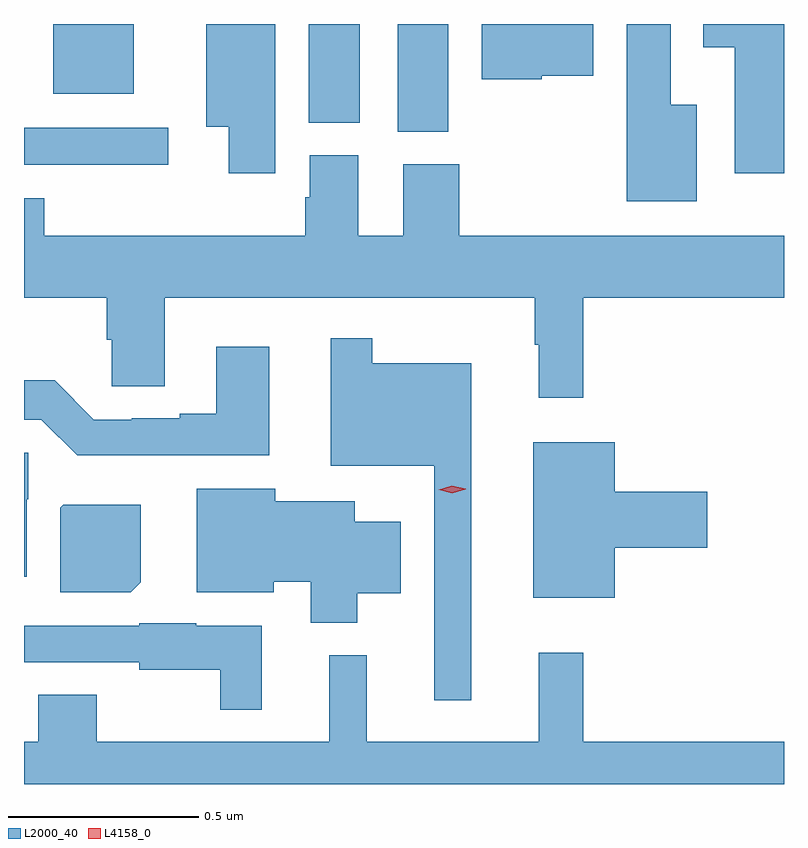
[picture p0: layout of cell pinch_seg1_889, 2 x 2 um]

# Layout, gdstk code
import gdstk
lib = gdstk.Library(unit=1e-6, precision=1e-09)
def R(c, l, rs):  # rectangles x0, y0, x1, y1
    for r in rs: c.add(gdstk.rectangle(r[:2], r[2:], *l))
def P(c, l, *ps):  # polygons
    for p in ps: c.add(gdstk.Polygon(p, *l))
L2000_40 = (2000, 40)
L4158_0 = (4158, 0)

pinch_seg1_889 = lib.new_cell('pinch_seg1_889')
R(pinch_seg1_889, L2000_40, [(483.393,517.451,483.772,517.548), (484.376,517.537,484.51,517.821), (484.142,517.561,484.276,517.821), (483.47,517.637,483.682,517.821)])
P(pinch_seg1_889, L2000_40, [(485.164,517.609),(485.095,517.609),(485.095,517.821),(484.979,517.821),(484.979,517.355),(485.164,517.355)],
  [(485.393,517.821),(485.18,517.821),(485.18,517.76),(485.264,517.76),(485.264,517.428),(485.393,517.428)],
  [(484.755,517.685),(484.891,517.685),(484.891,517.821),(484.598,517.821),(484.598,517.676),(484.755,517.676)],
  [(484.054,517.821),(483.872,517.821),(483.872,517.55),(483.932,517.55),(483.932,517.428),(484.054,517.428)],
  [(484.865,517.1),(485.393,517.1),(485.393,517.264),(484.539,517.264),(484.539,517.452),(484.391,517.452),(484.391,517.264),(484.273,517.264),(484.273,517.476),(484.145,517.476),(484.145,517.365),(484.133,517.365),(484.133,517.264),(483.446,517.264),(483.446,517.363),(483.393,517.363),(483.393,517.1),(483.611,517.1),(483.611,516.99),(483.624,516.99),(483.624,516.868),(483.763,516.868),(483.763,517.1),(484.737,517.1),(484.737,516.977),(484.748,516.977),(484.748,516.837),(484.865,516.837)],
  [(484.57,516.928),(484.309,516.928),(484.309,516.994),(484.2,516.994),(484.2,516.659),(484.473,516.659),(484.473,516.042),(484.57,516.042)],
  [(484.039,516.972),(483.899,516.972),(483.899,516.796),(483.803,516.796),(483.803,516.783),(483.676,516.783),(483.676,516.78),(483.576,516.78),(483.474,516.883),(483.393,516.883),(483.393,516.78),(483.438,516.78),(483.533,516.686),(484.039,516.686)],
  [(484.948,516.443),(485.191,516.443),(485.191,516.59),(484.948,516.59),(484.948,516.721),(484.733,516.721),(484.733,516.311),(484.948,516.311)],
  [(483.4,516.57),(483.404,516.57),(483.404,516.693),(483.393,516.693),(483.393,516.366),(483.4,516.366)],
  [(484.27,516.323),(484.384,516.323),(484.384,516.511),(484.264,516.511),(484.264,516.565),(484.054,516.565),(484.054,516.598),(483.848,516.598),(483.848,516.326),(484.05,516.326),(484.05,516.353),(484.148,516.353),(484.148,516.245),(484.27,516.245)],
  [(483.7,516.352),(483.7,516.556),(483.496,516.556),(483.488,516.548),(483.488,516.326),(483.674,516.326)],
  [(484.019,516.238),(483.846,516.238),(483.846,516.244),(483.696,516.244),(483.696,516.237),(483.393,516.237),(483.393,516.141),(483.696,516.141),(483.696,516.122),(483.909,516.122),(483.909,516.017),(484.019,516.017)],
  [(485.393,515.932),(484.865,515.932),(484.865,516.166),(484.748,516.166),(484.748,515.932),(484.295,515.932),(484.295,516.16),(484.196,516.16),(484.196,515.932),(483.585,515.932),(483.585,516.056),(483.43,516.056),(483.43,515.932),(483.393,515.932),(483.393,515.821),(485.393,515.821)])
P(pinch_seg1_889, L4158_0, [(484.52,516.586),(484.484,516.595),(484.484,516.595),(484.484,516.595),(484.519,516.606),(484.555,516.598),(484.555,516.598),(484.555,516.597)])

lib.write_gds('pinch_seg1_889.gds')
